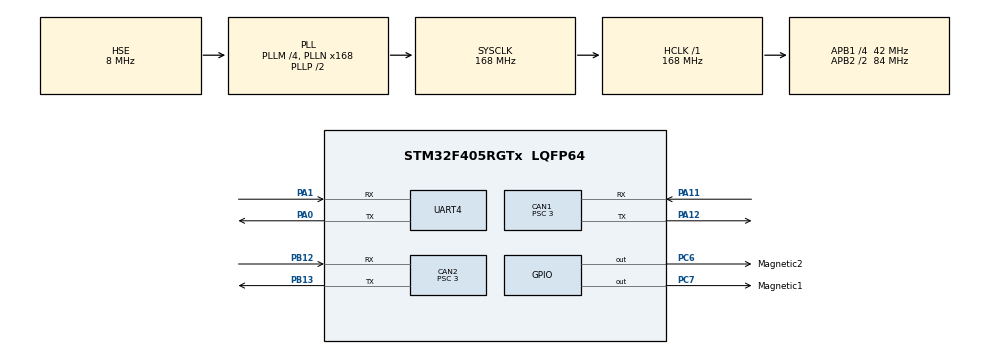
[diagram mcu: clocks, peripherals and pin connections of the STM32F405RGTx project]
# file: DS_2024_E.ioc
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CAN1.BS1=CAN_BS1_10TQ
CAN1.BS2=CAN_BS2_3TQ
CAN1.CalculateBaudRate=1000000
CAN1.CalculateTimeBit=1000
CAN1.CalculateTimeQuantum=71.42857142857143
CAN1.Mode=CAN_MODE_NORMAL
CAN1.Prescaler=3
CAN2.BS1=CAN_BS1_10TQ
CAN2.BS2=CAN_BS2_3TQ
CAN2.CalculateBaudRate=1000000
CAN2.CalculateTimeBit=1000
CAN2.CalculateTimeQuantum=71.42857142857143
CAN2.Mode=CAN_MODE_NORMAL
CAN2.Prescaler=3
FREERTOS.Tasks01=defaultTask,24,128,StartDefaultTask,Default,NULL,Dynamic,NULL,NULL
FREERTOS.configENABLE_FPU=1
FREERTOS.configUSE_NEWLIB_REENTRANT=1
Mcu.Family=STM32F4
Mcu.Name=STM32F405RGTx
Mcu.Package=LQFP64
NVIC.CAN1_RX0_IRQn=true\:5\:0\:false\:false\:true\:true\:true\:true\:true
NVIC.CAN1_RX1_IRQn=true\:5\:0\:false\:false\:true\:true\:true\:true\:true
NVIC.CAN1_SCE_IRQn=true\:5\:0\:false\:false\:true\:true\:true\:true\:true
NVIC.CAN1_TX_IRQn=true\:5\:0\:false\:false\:true\:true\:true\:true\:true
NVIC.CAN2_RX0_IRQn=true\:5\:0\:false\:false\:true\:true\:true\:true\:true
NVIC.CAN2_RX1_IRQn=true\:5\:0\:false\:false\:true\:true\:true\:true\:true
NVIC.CAN2_SCE_IRQn=true\:5\:0\:false\:false\:true\:true\:true\:true\:true
NVIC.CAN2_TX_IRQn=true\:5\:0\:false\:false\:true\:true\:true\:true\:true
NVIC.PriorityGroup=NVIC_PRIORITYGROUP_4
NVIC.TIM3_IRQn=true\:5\:0\:false\:false\:true\:true\:true\:true\:true
NVIC.TIM4_IRQn=true\:15\:0\:false\:false\:true\:false\:false\:true\:true
NVIC.TimeBase=TIM4_IRQn
NVIC.TimeBaseIP=TIM4
NVIC.UART4_IRQn=true\:5\:0\:false\:false\:true\:true\:true\:true\:true
PA0-WKUP.Mode=Asynchronous
PA0-WKUP.Signal=UART4_TX
PA1.Mode=Asynchronous
PA1.Signal=UART4_RX
PA11.Mode=CAN_Activate
PA11.Signal=CAN1_RX
PA12.Mode=CAN_Activate
PA12.Signal=CAN1_TX
PA13.Mode=Serial_Wire
PA13.Signal=SYS_JTMS-SWDIO
PA14.Mode=Serial_Wire
PA14.Signal=SYS_JTCK-SWCLK
PB12.Mode=CAN_Activate
PB12.Signal=CAN2_RX
PB13.Mode=CAN_Activate
PB13.Signal=CAN2_TX
PC6.GPIO_Label=Magnetic2
PC6.GPIO_PuPd=GPIO_PULLDOWN
PC6.Signal=GPIO_Output
PC7.GPIO_Label=Magnetic1
PC7.GPIO_PuPd=GPIO_PULLDOWN
PC7.Signal=GPIO_Output
PH0-OSC_IN.Mode=HSE-External-Oscillator
PH0-OSC_IN.Signal=RCC_OSC_IN
PH1-OSC_OUT.Mode=HSE-External-Oscillator
PH1-OSC_OUT.Signal=RCC_OSC_OUT
ProjectManager.HeapSize=0x200
ProjectManager.StackSize=0x400
ProjectManager.TargetToolchain=STM32CubeIDE
RCC.48MHZClocksFreq_Value=84000000
RCC.AHBFreq_Value=168000000
RCC.APB1CLKDivider=RCC_HCLK_DIV4
RCC.APB1Freq_Value=42000000
RCC.APB1TimFreq_Value=84000000
RCC.APB2CLKDivider=RCC_HCLK_DIV2
RCC.APB2Freq_Value=84000000
RCC.APB2TimFreq_Value=168000000
RCC.CortexFreq_Value=168000000
RCC.HCLKFreq_Value=168000000
RCC.HSE_VALUE=8000000
RCC.HSI_VALUE=16000000
RCC.LSE_VALUE=32768
RCC.PLLM=4
RCC.PLLN=168
RCC.PLLSourceVirtual=RCC_PLLSOURCE_HSE
RCC.SYSCLKFreq_VALUE=168000000
RCC.SYSCLKSource=RCC_SYSCLKSOURCE_PLLCLK
RCC.VCOOutputFreq_Value=336000000
TIM3.AutoReloadPreload=TIM_AUTORELOAD_PRELOAD_ENABLE
TIM3.Period=999
TIM3.Prescaler=167
UART4.VirtualMode=Asynchronous
VP_FREERTOS_VS_CMSIS_V2.Mode=CMSIS_V2
VP_SYS_VS_tim4.Mode=TIM4
VP_TIM3_VS_ClockSourceINT.Mode=Internal
board=custom

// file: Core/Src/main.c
/* USER CODE BEGIN Header */
/**
  ******************************************************************************
  * @file           : main.c
  * @brief          : Main program body
  ******************************************************************************
  * @attention
  *
  * Copyright (c) 2024 STMicroelectronics.
  * All rights reserved.
  *
  * This software is licensed under terms that can be found in the LICENSE file
  * in the root directory of this software component.
  * If no LICENSE file comes with this software, it is provided AS-IS.
  *
  ******************************************************************************
  */
/* USER CODE END Header */
#include "main.h"
#include "cmsis_os.h"
#include "can.h"
#include "tim.h"
#include "usart.h"
#include "gpio.h"

/* USER CODE BEGIN Includes */
#include "all.h"
/* USER CODE END Includes */

void SystemClock_Config(void);
void MX_FREERTOS_Init(void);

int main(void)
{

  /* MCU Configuration--------------------------------------------------------*/

  /* Reset of all peripherals, Initializes the Flash interface and the Systick. */
  HAL_Init();

  /* Configure the system clock */
  SystemClock_Config();

  /* USER CODE BEGIN SysInit */
  my_Init();
  /* USER CODE END SysInit */

  /* Initialize all configured peripherals */
  MX_GPIO_Init();
  MX_CAN1_Init();
  MX_TIM3_Init();
  MX_CAN2_Init();
  MX_UART4_Init();
  /* USER CODE BEGIN 2 */
  my_Init();
  /* USER CODE END 2 */

  /* Init scheduler */
  osKernelInitialize();

  /* Call init function for freertos objects (in cmsis_os2.c) */
  MX_FREERTOS_Init();

  /* Start scheduler */
  osKernelStart();

  /* We should never get here as control is now taken by the scheduler */

  /* Infinite loop */
  while (1)
  {

    /* USER CODE BEGIN 3 */
//      printf("PID_controller: %.2f,%.2f\r\n", pid_position.kp, pid_position.ki);
      extern void Magnetic_on(void);
      extern void Magnetic_off(void);
      HAL_GPIO_TogglePin(Magnetic1_GPIO_Port, Magnetic1_Pin);
      HAL_Delay(1000);
  }
  /* USER CODE END 3 */
}

void SystemClock_Config(void)
{
  RCC_OscInitTypeDef RCC_OscInitStruct = {0};
  RCC_ClkInitTypeDef RCC_ClkInitStruct = {0};

  /** Configure the main internal regulator output voltage
  */
  __HAL_RCC_PWR_CLK_ENABLE();
  __HAL_PWR_VOLTAGESCALING_CONFIG(PWR_REGULATOR_VOLTAGE_SCALE1);

  /** Initializes the RCC Oscillators according to the specified parameters
  * in the RCC_OscInitTypeDef structure.
  */
  RCC_OscInitStruct.OscillatorType = RCC_OSCILLATORTYPE_HSE;
  RCC_OscInitStruct.HSEState = RCC_HSE_ON;
  RCC_OscInitStruct.PLL.PLLState = RCC_PLL_ON;
  RCC_OscInitStruct.PLL.PLLSource = RCC_PLLSOURCE_HSE;
  RCC_OscInitStruct.PLL.PLLM = 4;
  RCC_OscInitStruct.PLL.PLLN = 168;
  RCC_OscInitStruct.PLL.PLLP = RCC_PLLP_DIV2;
  RCC_OscInitStruct.PLL.PLLQ = 4;
  if (HAL_RCC_OscConfig(&RCC_OscInitStruct) != HAL_OK)
  {
    Error_Handler();
  }

  /** Initializes the CPU, AHB and APB buses clocks
  */
  RCC_ClkInitStruct.ClockType = RCC_CLOCKTYPE_HCLK|RCC_CLOCKTYPE_SYSCLK
                              |RCC_CLOCKTYPE_PCLK1|RCC_CLOCKTYPE_PCLK2;
  RCC_ClkInitStruct.SYSCLKSource = RCC_SYSCLKSOURCE_PLLCLK;
  RCC_ClkInitStruct.AHBCLKDivider = RCC_SYSCLK_DIV1;
  RCC_ClkInitStruct.APB1CLKDivider = RCC_HCLK_DIV4;
  RCC_ClkInitStruct.APB2CLKDivider = RCC_HCLK_DIV2;

  if (HAL_RCC_ClockConfig(&RCC_ClkInitStruct, FLASH_LATENCY_5) != HAL_OK)
  {
    Error_Handler();
  }
}

//void HAL_TIM_PeriodElapsedCallback(TIM_HandleTypeDef *htim)
//{
//  /* USER CODE BEGIN Callback 0 */
//
//  /* USER CODE END Callback 0 */
//  if (htim->Instance == TIM4) {
//    HAL_IncTick();
//  }
//  /* USER CODE BEGIN Callback 1 */
//
//  /* USER CODE END Callback 1 */
//}

void Error_Handler(void)
{
  __disable_irq();
  while (1)
  {
  }
}

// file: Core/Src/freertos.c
/* USER CODE BEGIN Header */
/**
  ******************************************************************************
  * File Name          : freertos.c
  * Description        : Code for freertos applications
  ******************************************************************************
  * @attention
  *
  * Copyright (c) 2024 STMicroelectronics.
  * All rights reserved.
  *
  * This software is licensed under terms that can be found in the LICENSE file
  * in the root directory of this software component.
  * If no LICENSE file comes with this software, it is provided AS-IS.
  *
  ******************************************************************************
  */
/* USER CODE END Header */

#include "FreeRTOS.h"
#include "task.h"
#include "main.h"
#include "cmsis_os.h"

/* USER CODE BEGIN Includes */
#include "all.h"
/* USER CODE END Includes */

/* USER CODE BEGIN Variables */
TaskHandle_t g_Uart_TX_TaskHandle;//串口发�?�任务句�?
TaskHandle_t g_Pid_TaskHandle;//PID任务句柄
TaskHandle_t g_Uart_RX_TaskHandle;//串口接收任务句柄
TaskHandle_t g_Kinematics_TaskHandle;//运动学任务句�?
//extern EventGroupHandle_t g_EventGroupHandle_1;
SemaphoreHandle_t g_SemaphoreHandle_For_Pid;//pid任务信号量句�?
SemaphoreHandle_t g_SemaphoreHandle_For_Uart_RX;//串口接收任务信号量句�?
SemaphoreHandle_t g_SemaphoreHandle_For_Kinematics;//串口接收任务信号量句�?
/* USER CODE END Variables */
/* Definitions for defaultTask */
osThreadId_t defaultTaskHandle;
const osThreadAttr_t defaultTask_attributes = {
  .name = "defaultTask",
  .stack_size = 128 * 4,
  .priority = (osPriority_t) osPriorityNormal,
};

void StartDefaultTask(void *argument);

void MX_FREERTOS_Init(void); /* (MISRA C 2004 rule 8.1) */

void MX_FREERTOS_Init(void) {

  /* USER CODE BEGIN RTOS_SEMAPHORES */
  /* add semaphores, ... */
  g_SemaphoreHandle_For_Pid = xSemaphoreCreateBinary();
  g_SemaphoreHandle_For_Uart_RX = xSemaphoreCreateBinary();
  g_SemaphoreHandle_For_Kinematics= xSemaphoreCreateBinary();
  /* USER CODE END RTOS_SEMAPHORES */

  /* Create the thread(s) */
  /* creation of defaultTask */
  defaultTaskHandle = osThreadNew(StartDefaultTask, NULL, &defaultTask_attributes);

  /* USER CODE BEGIN RTOS_THREADS */
  /* add threads, ... */
    xTaskCreate(usart_tx_task, "UART_TX_Task", 128, NULL, osPriorityNormal, &g_Uart_TX_TaskHandle);
    xTaskCreate(usart_rx_task, "UART_RX_Task", 128, NULL, osPriorityNormal+1,&g_Uart_RX_TaskHandle);
    xTaskCreate(pid_task, "PID_Task", 128*8, NULL, osPriorityNormal+3,&g_Pid_TaskHandle);
    xTaskCreate(Kinematics_Solution_task, "Kinematics_Task", 128*2, NULL, osPriorityNormal+2,&g_Kinematics_TaskHandle);
  /* USER CODE END RTOS_THREADS */

}

void StartDefaultTask(void *argument)
{
  for(;;)
  {
    osDelay(1);
  }
}
